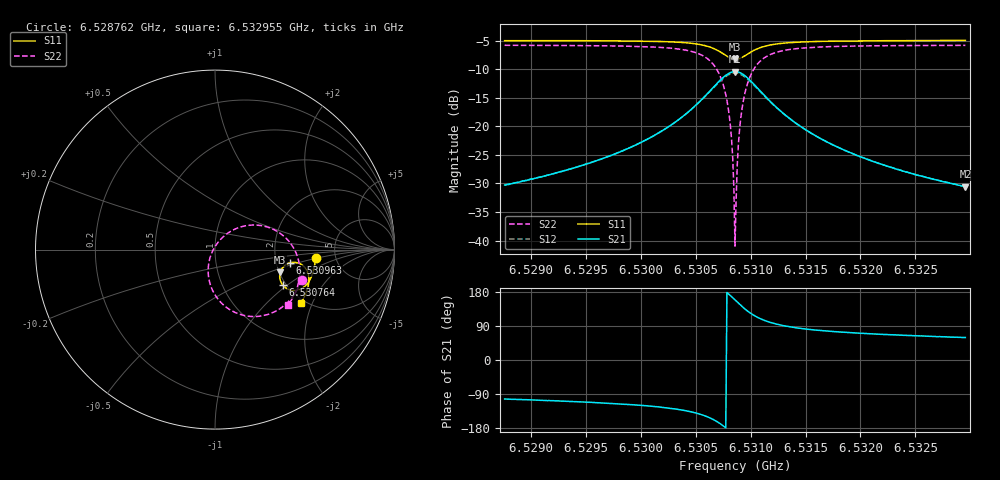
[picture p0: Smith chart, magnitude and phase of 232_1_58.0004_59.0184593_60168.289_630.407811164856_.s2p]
#  HZ  S  RI  R  50.00
! Rohde & Schwarz Vector Network Analyzer
! Rohde-Schwarz,ZNB20-2Port,1311601062101988,3.16
! Created: UTC 3/21/2024, 1:00:42 AM
! freq[Hz]  re:S11  im:S11  re:S21  im:S21  re:S12  im:S12  re:S22  im:S22
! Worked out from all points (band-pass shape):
!   401 points, 6.528762 GHz to 6.532955 GHz, reference 50 ohm
!   highest |S21| = -10.42 dB at 6.530858 GHz (marker M1); lowest = -30.6 dB at 6.532955 GHz (marker M2)
!   |S21| within 3 dB of the highest: 6.530649 GHz to 6.531069 GHz (419.4 kHz wide, 0.00642 % of centre)
!   lowest |S11| = -8.3 dB at 6.530858 GHz (marker M3), VSWR 2.25, Z = 101 - j30.2 ohm
!   |S11| at or under -10 dB: nowhere
!   |S22| runs from -41.0 to -5.8 dB; largest |S21 - S12| = 0.012
!   S11 on the Smith chart (normalised r, x): 6.528762 GHz: 3.49, -0.49; 6.530764 GHz: 1.92, -0.92; 6.530963 GHz: 2.38, -0.43; 6.532955 GHz: 1.89, -1.66
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6.5287616e9  0.5602 -0.048  -0.00682 -0.0299  -0.0075 -0.0297  0.4832 -0.1695
6.529464e9  0.5511 -0.1064  -0.0161 -0.0425  -0.017 -0.0421  0.452 -0.2334
6.5301664e9  0.5242 -0.1761  -0.0491 -0.0729  -0.0511 -0.0716  0.3711 -0.3225
6.5304075e9  0.498 -0.2066  -0.088 -0.0922  -0.0908 -0.0892  0.2918 -0.3621
6.5305857e9  0.4551 -0.2266  -0.1551 -0.0988  -0.1573 -0.0924  0.168 -0.3682
6.5306905e9  0.4107 -0.2221  -0.2235 -0.073  -0.2228 -0.0636  0.0526 -0.3131
6.5307639e9  0.3762 -0.1957  -0.274 -0.0155  -0.2683 -0.0057  -0.0221 -0.2072
6.5308059e9  0.3629 -0.1685  -0.2898 0.0365  -0.281 0.0445  -0.0383 -0.1182
6.5308268e9  0.3606 -0.1523  -0.2904 0.066  -0.2806 0.0725  -0.0337 -0.0699
6.5308373e9  0.3606 -0.144  -0.2884 0.0808  -0.2782 0.0866  -0.0279 -0.0456
6.5308478e9  0.3617 -0.1356  -0.2851 0.096  -0.2746 0.1007  -0.0195 -0.0218
6.5308583e9  0.3633 -0.1274  -0.2802 0.1105  -0.2696 0.1141  -0.00888 0.00102
6.5308688e9  0.3662 -0.1194  -0.274 0.1245  -0.2632 0.1272  0.00405 0.0227
6.5308792e9  0.3698 -0.1118  -0.2662 0.1379  -0.2557 0.1397  0.0189 0.043
6.5308897e9  0.3741 -0.1046  -0.2574 0.1502  -0.2472 0.1511  0.0355 0.0616
6.5309107e9  0.3848 -0.0923  -0.2369 0.1717  -0.2274 0.1709  0.073 0.0928
6.5309631e9  0.4172 -0.0738  -0.1777 0.2033  -0.171 0.2005  0.1763 0.1338
6.5310365e9  0.4594 -0.0734  -0.1038 0.2055  -0.1003 0.2026  0.3003 0.1229
6.5311413e9  0.4964 -0.0951  -0.0401 0.1752  -0.0383 0.1734  0.4029 0.0563
6.5315607e9  0.5233 -0.1742  0.0149 0.0848  0.0161 0.0844  0.4723 -0.1334
6.532263e9  0.5052 -0.246  0.0174 0.0406  0.0181 0.0404  0.4431 -0.2484
6.5329549e9  0.4792 -0.2979  0.0151 0.0255  0.0157 0.0252  0.4081 -0.3081
